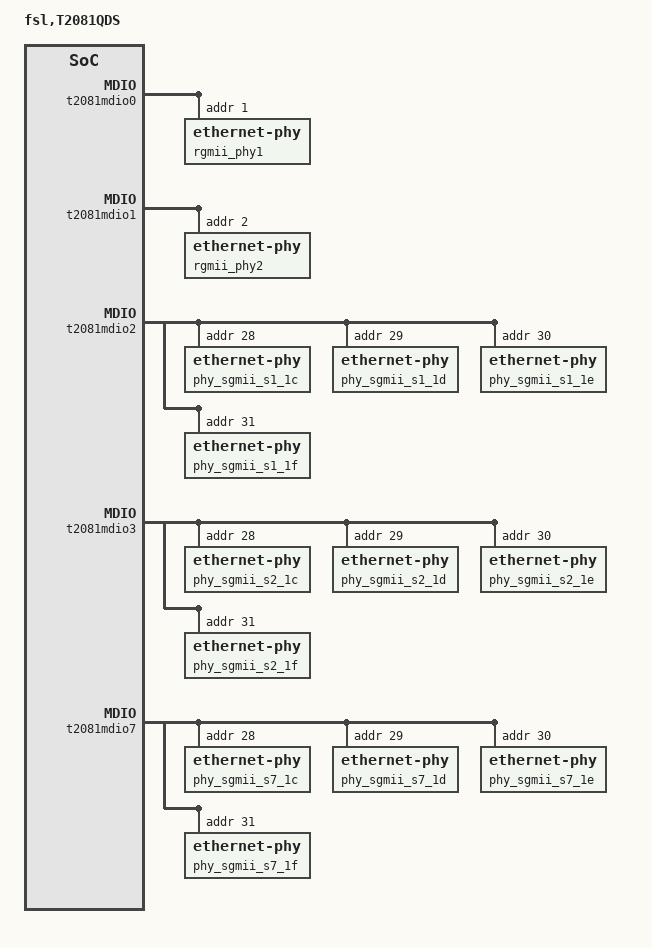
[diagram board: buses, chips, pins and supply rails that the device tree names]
/*
 * T2081QDS Device Tree Source
 *
 * Copyright 2013 - 2015 Freescale Semiconductor Inc.
 *
 * Redistribution and use in source and binary forms, with or without
 * modification, are permitted provided that the following conditions are met:
 *     * Redistributions of source code must retain the above copyright
 *	 notice, this list of conditions and the following disclaimer.
 *     * Redistributions in binary form must reproduce the above copyright
 *	 notice, this list of conditions and the following disclaimer in the
 *	 documentation and/or other materials provided with the distribution.
 *     * Neither the name of Freescale Semiconductor nor the
 *	 names of its contributors may be used to endorse or promote products
 *	 derived from this software without specific prior written permission.
 *
 *
 * ALTERNATIVELY, this software may be distributed under the terms of the
 * GNU General Public License ("GPL") as published by the Free Software
 * Foundation, either version 2 of that License or (at your option) any
 * later version.
 *
 * THIS SOFTWARE IS PROVIDED BY Freescale Semiconductor "AS IS" AND ANY
 * EXPRESS OR IMPLIED WARRANTIES, INCLUDING, BUT NOT LIMITED TO, THE IMPLIED
 * WARRANTIES OF MERCHANTABILITY AND FITNESS FOR A PARTICULAR PURPOSE ARE
 * DISCLAIMED. IN NO EVENT SHALL Freescale Semiconductor BE LIABLE FOR ANY
 * DIRECT, INDIRECT, INCIDENTAL, SPECIAL, EXEMPLARY, OR CONSEQUENTIAL DAMAGES
 * (INCLUDING, BUT NOT LIMITED TO, PROCUREMENT OF SUBSTITUTE GOODS OR SERVICES;
 * LOSS OF USE, DATA, OR PROFITS; OR BUSINESS INTERRUPTION) HOWEVER CAUSED AND
 * ON ANY THEORY OF LIABILITY, WHETHER IN CONTRACT, STRICT LIABILITY, OR TORT
 * (INCLUDING NEGLIGENCE OR OTHERWISE) ARISING IN ANY WAY OUT OF THE USE OF THIS
 * SOFTWARE, EVEN IF ADVISED OF THE POSSIBILITY OF SUCH DAMAGE.
 */

/include/ "t208xsi-pre.dtsi"
/include/ "t208xqds.dtsi"

/ {
	model = "fsl,T2081QDS";
	compatible = "fsl,T2081QDS";
	#address-cells = <2>;
	#size-cells = <2>;
	interrupt-parent = <&mpic>;

	aliases {
		emi1_slot1 = &t2081mdio2;
		emi1_slot2 = &t2081mdio3;
		emi1_slot3 = &t2081mdio4;
		emi1_slot5 = &t2081mdio5;
		emi1_slot6 = &t2081mdio6;
		emi1_slot7 = &t2081mdio7;
	};
};

&soc {
	fman@400000 {
		ethernet@e0000 {
			phy-handle = <&phy_sgmii_s7_1c>;
			phy-connection-type = "sgmii";
		};

		ethernet@e2000 {
			phy-handle = <&phy_sgmii_s7_1d>;
			phy-connection-type = "sgmii";
		};

		ethernet@e4000 {
			phy-handle = <&rgmii_phy1>;
			phy-connection-type = "rgmii";
		};

		ethernet@e6000 {
			phy-handle = <&rgmii_phy2>;
			phy-connection-type = "rgmii";
		};

		ethernet@e8000 {
			phy-handle = <&phy_sgmii_s3_1c>;
			phy-connection-type = "sgmii";
		};

		ethernet@ea000 {
			phy-handle = <&phy_sgmii_s7_1f>;
			phy-connection-type = "sgmii";
		};

		ethernet@f0000 {
			phy-handle = <&phy_sgmii_s2_1c>;
			phy-connection-type = "xgmii";
		};

		ethernet@f2000 {
			phy-handle = <&phy_sgmii_s7_1e>;
			phy-connection-type = "xgmii";
		};
	};
};

&boardctrl {
	mdio-mux-emi1 {
		compatible = "mdio-mux-mmioreg", "mdio-mux";
		mdio-parent-bus = <&mdio0>;
		#address-cells = <1>;
		#size-cells = <0>;
		reg = <0x54 1>;
		mux-mask = <0xe0>;

		t2081mdio0: mdio@0 {
			#address-cells = <1>;
			#size-cells = <0>;
			reg = <0>;

			rgmii_phy1: ethernet-phy@1 {
				reg = <0x1>;
			};
		};

		t2081mdio1: mdio@20 {
			#address-cells = <1>;
			#size-cells = <0>;
			reg = <0x20>;

			rgmii_phy2: ethernet-phy@2 {
				reg = <0x2>;
			};
		};

		t2081mdio2: mdio@40 {
			#address-cells = <1>;
			#size-cells = <0>;
			reg = <0x40>;

			phy_sgmii_s1_1c: ethernet-phy@1c {
				reg = <0x1c>;
			};

			phy_sgmii_s1_1d: ethernet-phy@1d {
				reg = <0x1d>;
			};

			phy_sgmii_s1_1e: ethernet-phy@1e {
				reg = <0x1e>;
			};

			phy_sgmii_s1_1f: ethernet-phy@1f {
				reg = <0x1f>;
			};
		};

		t2081mdio3: mdio@60 {
			#address-cells = <1>;
			#size-cells = <0>;
			reg = <0x60>;

			phy_sgmii_s2_1c: ethernet-phy@1c {
				reg = <0x1c>;
			};

			phy_sgmii_s2_1d: ethernet-phy@1d {
				reg = <0x1d>;
			};

			phy_sgmii_s2_1e: ethernet-phy@1e {
				reg = <0x1e>;
			};

			phy_sgmii_s2_1f: ethernet-phy@1f {
				reg = <0x1f>;
			};
		};

		t2081mdio4: mdio@80 {
			#address-cells = <1>;
			#size-cells = <0>;
			reg = <0x80>;
			status = "disabled";

			phy_sgmii_s3_1c: ethernet-phy@1c {
				reg = <0x1c>;
			};

			phy_sgmii_s3_1d: ethernet-phy@1d {
				reg = <0x1d>;
			};

			phy_sgmii_s3_1e: ethernet-phy@1e {
				reg = <0x1e>;
			};

			phy_sgmii_s3_1f: ethernet-phy@1f {
				reg = <0x1f>;
			};
		};

		t2081mdio5: mdio@a0 {
			#address-cells = <1>;
			#size-cells = <0>;
			reg = <0xa0>;
			status = "disabled";

			phy_sgmii_s5_1c: ethernet-phy@1c {
				reg = <0x1c>;
			};

			phy_sgmii_s5_1d: ethernet-phy@1d {
				reg = <0x1d>;
			};

			phy_sgmii_s5_1e: ethernet-phy@1e {
				reg = <0x1e>;
			};

			phy_sgmii_s5_1f: ethernet-phy@1f {
				reg = <0x1f>;
			};
		};

		t2081mdio6: mdio@c0 {
			#address-cells = <1>;
			#size-cells = <0>;
			reg = <0xc0>;
			status = "disabled";

			phy_sgmii_s6_1c: ethernet-phy@1c {
				reg = <0x1c>;
			};

			phy_sgmii_s6_1d: ethernet-phy@1d {
				reg = <0x1d>;
			};

			phy_sgmii_s6_1e: ethernet-phy@1e {
				reg = <0x1e>;
			};

			phy_sgmii_s6_1f: ethernet-phy@1f {
				reg = <0x1f>;
			};
		};

		t2081mdio7: mdio@e0 {
			#address-cells = <1>;
			#size-cells = <0>;
			reg = <0xe0>;

			phy_sgmii_s7_1c: ethernet-phy@1c {
				reg = <0x1c>;
			};

			phy_sgmii_s7_1d: ethernet-phy@1d {
				reg = <0x1d>;
			};

			phy_sgmii_s7_1e: ethernet-phy@1e {
				reg = <0x1e>;
			};

			phy_sgmii_s7_1f: ethernet-phy@1f {
				reg = <0x1f>;
			};
		};
	};
};

/include/ "t2081si-post.dtsi"
